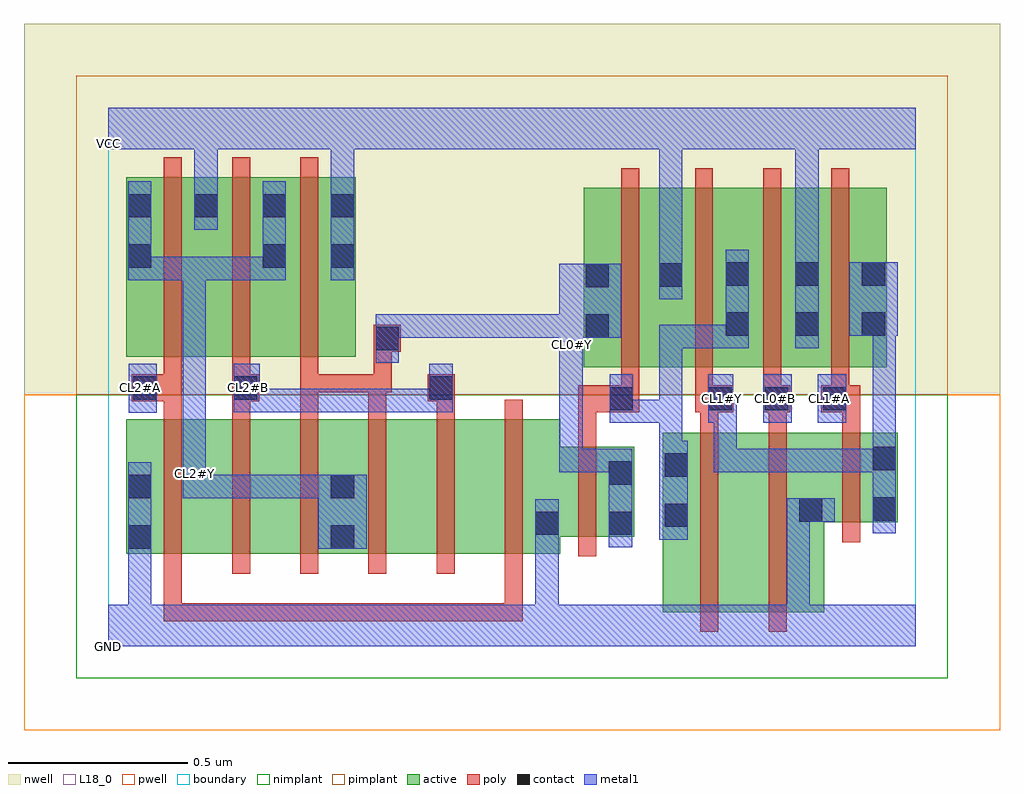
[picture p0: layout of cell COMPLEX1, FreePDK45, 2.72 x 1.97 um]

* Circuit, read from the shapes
.subckt COMPLEX1 CL0#B CL0#Y CL1#A CL1#Y CL2#A CL2#B CL2#Y GND VCC
M1 n1 CL2#A GND VSUBS nfet w=0.375u l=0.05u
M2 n2 CL2#B n1 VSUBS nfet w=0.375u l=0.05u
M3 CL2#Y CL0#Y n2 VSUBS nfet w=0.375u l=0.05u
M4 n3 CL0#Y CL2#Y VSUBS nfet w=0.375u l=0.05u
M5 n4 CL2#B n3 VSUBS nfet w=0.375u l=0.05u
M6 GND CL2#A n4 VSUBS nfet w=0.375u l=0.05u
M7 CL0#Y n5 GND VSUBS nfet w=0.25u l=0.05u
M8 n6 CL1#Y n5 VSUBS nfet w=0.5u l=0.05u
M9 GND CL0#B n6 VSUBS nfet w=0.5u l=0.05u
M10 CL1#Y CL1#A GND VSUBS nfet w=0.25u l=0.05u
M11 VCC CL2#A CL2#Y n7 pfet w=0.5u l=0.05u
M12 CL2#Y CL2#B VCC n7 pfet w=0.5u l=0.05u
M13 VCC CL0#Y CL2#Y n7 pfet w=0.5u l=0.05u
M14 VCC n5 CL0#Y n7 pfet w=0.5u l=0.05u
M15 n5 CL1#Y VCC n7 pfet w=0.5u l=0.05u
M16 VCC CL0#B n5 n7 pfet w=0.5u l=0.05u
M17 CL1#Y CL1#A VCC n7 pfet w=0.5u l=0.05u
.ends

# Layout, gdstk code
import gdstk
lib = gdstk.Library(unit=1e-6, precision=1e-09)
def R(c, l, rs):  # rectangles x0, y0, x1, y1
    for r in rs: c.add(gdstk.rectangle(r[:2], r[2:], *l))
def A(c, l, x, y, w, h, nx, ny, dx, dy):  # array of equal rectangles
    R(c, l, [(x+i*dx, y+j*dy, x+i*dx+w, y+j*dy+h) for i in range(nx) for j in range(ny)])
active = (1, 0)
pwell = (2, 0)
nwell = (3, 0)
nimplant = (4, 0)
pimplant = (5, 0)
poly = (9, 0)
contact = (10, 0)
metal1 = (11, 0)
L18_0 = (18, 0)
boundary = (235, 0)

complex1 = lib.new_cell('COMPLEX1')
R(complex1, active, [(1.545,0.095,1.77,0.595), (1.77,0.095,1.995,0.595), (1.92,0.095,1.995,0.562), (1.545,0.145,1.65,0.595), (0.05,0.257,0.275,0.632), (0.05,0.257,0.125,0.632), (0.275,0.257,0.465,0.632), (0.465,0.257,0.69,0.632), (0.615,0.257,0.845,0.632), (0.615,0.257,0.69,0.592), (0.845,0.257,1.035,0.632), (1.035,0.257,1.26,0.632), (1.185,0.305,1.26,0.555), (1.185,0.305,1.465,0.555), (1.39,0.305,1.465,0.555), (1.92,0.345,2.2,0.595), (2.125,0.345,2.2,0.595), (1.325,0.777,1.605,1.277), (1.325,0.777,1.4,1.255), (1.53,0.777,1.79,1.277), (1.715,0.777,1.985,1.277), (1.91,0.777,2.17,1.277), (2.095,0.777,2.17,1.267), (1.715,0.782,1.79,1.267), (1.91,0.802,1.985,1.267), (0.05,0.807,0.31,1.307), (0.05,0.807,0.125,1.3), (0.235,0.807,0.5,1.307), (0.425,0.807,0.69,1.307), (0.425,0.807,0.5,1.3), (0.615,0.807,0.69,1.265), (0.235,0.902,0.31,1.267), (1.53,0.902,1.605,1.255)])
R(complex1, pwell, [(-0.235,-0.235,2.485,0.7)])
R(complex1, nwell, [(-0.235,0.7,2.485,1.735)])
R(complex1, nimplant, [(-0.09,-0.09,2.34,0.7)])
R(complex1, pimplant, [(-0.09,0.7,2.34,1.59)])
A(complex1, poly, 0.155, 0.202, 0.05, 0.485, 6, 1, 0.19, 0)
A(complex1, poly, 1.635, 0.677, 0.05, 0.095, 3, 1, 0.19, 0)
A(complex1, poly, 0.155, 0.707, 0.05, 0.095, 3, 1, 0.19, 0)
A(complex1, poly, 1.635, 0.722, 0.05, 0.61, 3, 1, 0.19, 0)
A(complex1, poly, 0.155, 0.752, 0.05, 0.61, 3, 1, 0.19, 0)
R(complex1, poly, [(1.65,0.04,1.7,0.65), (1.84,0.04,1.89,0.65), (0.155,0.07,0.205,0.252), (0.155,0.07,0.205,0.12), (0.155,0.07,0.205,0.12), (0.155,0.07,0.205,0.12), (0.155,0.07,0.452,0.12), (0.402,0.07,0.452,0.12), (0.402,0.07,0.452,0.12), (0.402,0.07,0.452,0.12), (0.402,0.07,0.642,0.12), (0.592,0.07,0.642,0.12), (0.592,0.07,0.642,0.12), (0.592,0.07,0.642,0.12), (0.592,0.07,0.775,0.12), (0.725,0.07,0.775,0.12), (0.725,0.07,0.907,0.12), (0.857,0.07,0.907,0.12), (0.857,0.07,0.907,0.12), (0.857,0.07,0.907,0.12), (0.857,0.07,1.155,0.12), (1.105,0.07,1.155,0.252), (1.105,0.07,1.155,0.12), (1.105,0.07,1.155,0.12), (1.105,0.07,1.155,0.12), (1.31,0.25,1.36,0.61), (2.045,0.29,2.095,0.65), (1.31,0.56,1.36,0.702), (1.65,0.6,1.7,0.702), (1.84,0.6,1.89,0.702), (2.045,0.6,2.095,0.702), (0.155,0.637,0.205,0.732), (0.345,0.637,0.395,0.732), (0.535,0.637,0.585,0.757), (0.725,0.637,0.775,0.757), (0.915,0.637,0.965,0.732), (1.31,0.652,1.48,0.727), (1.635,0.652,1.742,0.727), (1.825,0.652,1.9,0.727), (1.987,0.652,2.095,0.727), (1.43,0.677,1.48,0.772), (0.065,0.682,0.205,0.757), (0.345,0.682,0.42,0.757), (0.89,0.682,0.965,0.757), (0.535,0.707,0.585,0.757), (0.535,0.707,0.585,0.757), (0.535,0.707,0.585,0.757), (0.535,0.707,0.775,0.757), (0.725,0.707,0.79,0.757), (0.74,0.707,0.79,0.87), (1.43,0.722,1.48,1.332), (0.74,0.82,0.815,0.895), (0.74,0.82,0.79,0.87), (0.74,0.82,0.79,0.87)])
A(complex1, contact, 0.24, 1.195, 0.065, 0.065, 3, 1, 0.19, 0)
R(complex1, contact, [(0.055,0.272,0.12,0.337), (0.62,0.272,0.685,0.337), (1.19,0.31,1.255,0.375), (1.395,0.31,1.46,0.375), (1.55,0.332,1.615,0.397), (1.925,0.347,1.99,0.412), (2.13,0.35,2.195,0.415), (0.055,0.412,0.12,0.477), (0.62,0.412,0.685,0.477), (1.395,0.45,1.46,0.515), (1.55,0.472,1.615,0.537), (2.13,0.49,2.195,0.555), (1.397,0.657,1.462,0.722), (1.672,0.657,1.737,0.722), (1.83,0.657,1.895,0.722), (1.992,0.657,2.057,0.722), (0.07,0.687,0.135,0.752), (0.35,0.687,0.415,0.752), (0.895,0.687,0.96,0.752), (0.745,0.825,0.81,0.89), (1.33,0.86,1.395,0.925), (1.72,0.865,1.785,0.93), (1.915,0.865,1.98,0.93), (2.1,0.865,2.165,0.93), (1.33,1,1.395,1.065), (1.535,1.002,1.6,1.067), (1.72,1.005,1.785,1.07), (1.915,1.005,1.98,1.07), (2.1,1.005,2.165,1.07), (0.055,1.055,0.12,1.12), (0.43,1.055,0.495,1.12), (0.62,1.055,0.685,1.12), (0.055,1.195,0.12,1.26)])
R(complex1, metal1, [(0,0,2.25,0.115), (0.055,0.05,0.12,0.115), (0.055,0.05,0.12,0.115), (0.055,0.05,0.12,0.115), (0.055,0.05,0.12,0.115), (0.055,0.05,0.12,0.302), (1.19,0.05,1.255,0.34), (1.89,0.05,1.955,0.115), (1.89,0.05,1.955,0.115), (1.89,0.05,1.955,0.412), (0.055,0.237,0.12,0.512), (0.585,0.272,0.72,0.477), (1.19,0.275,1.255,0.34), (1.19,0.275,1.255,0.34), (1.19,0.275,1.255,0.34), (1.19,0.275,1.255,0.34), (1.19,0.275,1.255,0.41), (1.395,0.275,1.46,0.55), (1.535,0.297,1.615,0.572), (2.13,0.315,2.195,0.59), (1.89,0.347,2.025,0.412), (0.207,0.412,0.272,0.477), (0.207,0.412,0.272,0.477), (0.207,0.412,0.272,0.547), (0.207,0.412,0.442,0.477), (0.377,0.412,0.442,0.477), (0.377,0.412,0.442,0.477), (0.377,0.412,0.442,0.477), (0.377,0.412,0.65,0.477), (0.585,0.412,0.65,0.477), (0.585,0.412,0.65,0.477), (0.207,0.482,0.272,1.085), (1.257,0.485,1.322,0.55), (1.257,0.485,1.46,0.55), (1.257,0.485,1.322,0.837), (1.395,0.485,1.46,0.55), (1.395,0.485,1.46,0.55), (1.687,0.485,1.752,0.55), (1.687,0.485,1.905,0.55), (1.687,0.485,1.752,0.687), (1.84,0.485,1.905,0.55), (1.84,0.485,1.905,0.55), (1.84,0.485,1.905,0.55), (1.84,0.485,2.195,0.55), (2.13,0.485,2.195,0.55), (2.13,0.485,2.195,0.55), (1.535,0.507,1.6,0.687), (2.13,0.525,2.195,0.93), (2.13,0.525,2.195,0.59), (2.13,0.525,2.195,0.59), (1.397,0.622,1.462,0.757), (1.397,0.622,1.6,0.687), (1.535,0.622,1.6,0.687), (1.535,0.622,1.6,0.687), (1.535,0.622,1.6,0.687), (1.535,0.622,1.6,0.895), (1.672,0.622,1.742,0.757), (1.677,0.622,1.752,0.687), (1.687,0.622,1.752,0.687), (1.825,0.622,1.905,0.757), (1.977,0.622,2.057,0.757), (0.057,0.65,0.135,0.787), (0.35,0.652,0.422,0.787), (0.357,0.652,0.422,0.717), (0.357,0.652,0.422,0.717), (0.357,0.652,0.58,0.717), (0.515,0.652,0.58,0.717), (0.515,0.652,0.58,0.717), (0.515,0.652,0.58,0.717), (0.515,0.652,0.81,0.717), (0.745,0.652,0.81,0.717), (0.745,0.652,0.81,0.717), (0.745,0.652,0.81,0.717), (0.745,0.652,0.96,0.717), (0.895,0.652,0.96,0.787), (1.257,0.772,1.322,0.907), (0.745,0.79,0.81,0.925), (1.535,0.83,1.6,0.895), (1.535,0.83,1.737,0.895), (1.672,0.83,1.737,0.895), (1.672,0.83,1.785,0.895), (1.72,0.83,1.785,1.105), (1.915,0.83,1.98,1.105), (1.257,0.842,1.322,0.925), (0.745,0.86,0.81,0.925), (0.745,0.86,0.81,0.925), (0.745,0.86,0.81,0.925), (0.745,0.86,0.81,0.925), (0.745,0.86,0.947,0.925), (0.882,0.86,0.947,0.925), (0.882,0.86,1.117,0.925), (1.052,0.86,1.117,0.925), (1.052,0.86,1.117,0.925), (1.052,0.86,1.117,0.925), (1.052,0.86,1.322,0.925), (1.257,0.86,1.43,1.065), (2.065,0.865,2.2,1.07), (1.535,0.967,1.6,1.102), (0.055,1.02,0.12,1.085), (0.055,1.02,0.12,1.085), (0.055,1.02,0.12,1.295), (0.055,1.02,0.272,1.085), (0.207,1.02,0.272,1.085), (0.207,1.02,0.272,1.085), (0.207,1.02,0.272,1.085), (0.207,1.02,0.495,1.085), (0.43,1.02,0.495,1.295), (0.62,1.02,0.685,1.295), (1.535,1.037,1.6,1.45), (1.915,1.04,1.98,1.45), (0.24,1.16,0.305,1.295), (0.24,1.23,0.305,1.45), (0.62,1.23,0.685,1.45), (0,1.385,2.25,1.5), (0.24,1.385,0.305,1.45), (0.24,1.385,0.305,1.45), (0.62,1.385,0.685,1.45), (0.62,1.385,0.685,1.45), (1.535,1.385,1.6,1.45), (1.535,1.385,1.6,1.45), (1.915,1.385,1.98,1.45), (1.915,1.385,1.98,1.45)])
A(complex1, L18_0, 1.677, 0.657, 0.065, 0.065, 3, 1, 0.15, 0)
R(complex1, L18_0, [(0,0,2.25,0.115), (0.055,0.05,0.12,0.115), (0.055,0.05,0.12,0.115), (0.055,0.05,0.12,0.115), (0.055,0.05,0.12,0.115), (0.055,0.05,0.12,0.302), (1.19,0.05,1.255,0.34), (1.89,0.05,1.955,0.115), (1.89,0.05,1.955,0.115), (1.89,0.05,1.955,0.412), (0.055,0.237,0.12,0.512), (0.585,0.272,0.72,0.477), (1.19,0.275,1.255,0.34), (1.19,0.275,1.255,0.34), (1.19,0.275,1.255,0.34), (1.19,0.275,1.255,0.34), (1.19,0.275,1.255,0.41), (1.395,0.275,1.46,0.55), (2.13,0.315,2.195,0.59), (1.89,0.347,2.025,0.412), (0.207,0.412,0.272,0.477), (0.207,0.412,0.272,0.477), (0.207,0.412,0.272,0.547), (0.207,0.412,0.442,0.477), (0.377,0.412,0.442,0.477), (0.377,0.412,0.442,0.477), (0.377,0.412,0.442,0.477), (0.377,0.412,0.65,0.477), (0.585,0.412,0.65,0.477), (0.585,0.412,0.65,0.477), (0.207,0.447,0.272,0.512), (0.207,0.482,0.272,1.085), (1.257,0.485,1.322,0.55), (1.257,0.485,1.322,0.837), (1.257,0.485,1.46,0.55), (1.395,0.485,1.46,0.55), (1.395,0.485,1.46,0.55), (1.687,0.485,1.752,0.55), (1.687,0.485,1.752,0.687), (1.687,0.485,1.905,0.55), (1.84,0.485,1.905,0.55), (1.84,0.485,1.905,0.55), (1.84,0.485,1.905,0.55), (1.84,0.485,2.195,0.55), (2.13,0.485,2.195,0.55), (2.13,0.485,2.195,0.55), (2.13,0.525,2.195,0.59), (2.13,0.525,2.195,0.59), (2.13,0.525,2.195,0.93), (1.672,0.622,1.742,0.757), (1.677,0.622,1.752,0.687), (1.687,0.622,1.752,0.687), (1.825,0.622,1.905,0.757), (1.977,0.622,2.057,0.757), (0.057,0.65,0.135,0.787), (0.35,0.652,0.422,0.787), (0.357,0.652,0.422,0.717), (0.357,0.652,0.422,0.717), (0.357,0.652,0.58,0.717), (0.515,0.652,0.58,0.717), (0.515,0.652,0.58,0.717), (0.515,0.652,0.58,0.717), (0.515,0.652,0.81,0.717), (0.745,0.652,0.81,0.717), (0.745,0.652,0.81,0.717), (0.745,0.652,0.81,0.717), (0.745,0.652,0.96,0.717), (0.895,0.652,0.96,0.787), (0.057,0.687,0.122,0.752), (0.357,0.687,0.422,0.752), (1.257,0.772,1.322,0.907), (0.745,0.79,0.81,0.925), (1.257,0.807,1.322,0.872), (1.915,0.83,1.98,1.105), (1.257,0.842,1.322,0.925), (0.745,0.86,0.81,0.925), (0.745,0.86,0.81,0.925), (0.745,0.86,0.81,0.925), (0.745,0.86,0.81,0.925), (0.745,0.86,0.947,0.925), (0.882,0.86,0.947,0.925), (0.882,0.86,1.117,0.925), (1.052,0.86,1.117,0.925), (1.052,0.86,1.117,0.925), (1.052,0.86,1.117,0.925), (1.052,0.86,1.322,0.925), (1.257,0.86,1.43,1.065), (2.065,0.865,2.2,1.07), (1.535,0.967,1.6,1.102), (0.055,1.02,0.12,1.085), (0.055,1.02,0.12,1.085), (0.055,1.02,0.12,1.295), (0.055,1.02,0.272,1.085), (0.207,1.02,0.272,1.085), (0.207,1.02,0.272,1.085), (0.207,1.02,0.272,1.085), (0.207,1.02,0.495,1.085), (0.43,1.02,0.495,1.295), (0.62,1.02,0.685,1.295), (1.535,1.037,1.6,1.45), (1.915,1.04,1.98,1.45), (0.24,1.16,0.305,1.295), (0.24,1.23,0.305,1.45), (0.62,1.23,0.685,1.45), (0,1.385,2.25,1.5), (0.24,1.385,0.305,1.45), (0.24,1.385,0.305,1.45), (0.62,1.385,0.685,1.45), (0.62,1.385,0.685,1.45), (1.535,1.385,1.6,1.45), (1.535,1.385,1.6,1.45), (1.915,1.385,1.98,1.45), (1.915,1.385,1.98,1.45)])
R(complex1, boundary, [(0,0,2.25,1.5)])
complex1.add(gdstk.Label('CL0#B', (1.86,0.69), layer=11, texttype=0))
complex1.add(gdstk.Label('CL0#Y', (1.29,0.84), layer=11, texttype=0))
complex1.add(gdstk.Label('CL1#A', (2.01,0.69), layer=11, texttype=0))
complex1.add(gdstk.Label('CL1#Y', (1.71,0.69), layer=11, texttype=0))
complex1.add(gdstk.Label('CL2#A', (0.09,0.72), layer=11, texttype=0))
complex1.add(gdstk.Label('CL2#B', (0.39,0.72), layer=11, texttype=0))
complex1.add(gdstk.Label('CL2#Y', (0.24,0.48), layer=11, texttype=0))
complex1.add(gdstk.Label('VCC', (0,1.4), layer=11, texttype=0))
complex1.add(gdstk.Label('GND', (0,0), layer=11, texttype=0))

lib.write_gds('COMPLEX1.gds')
